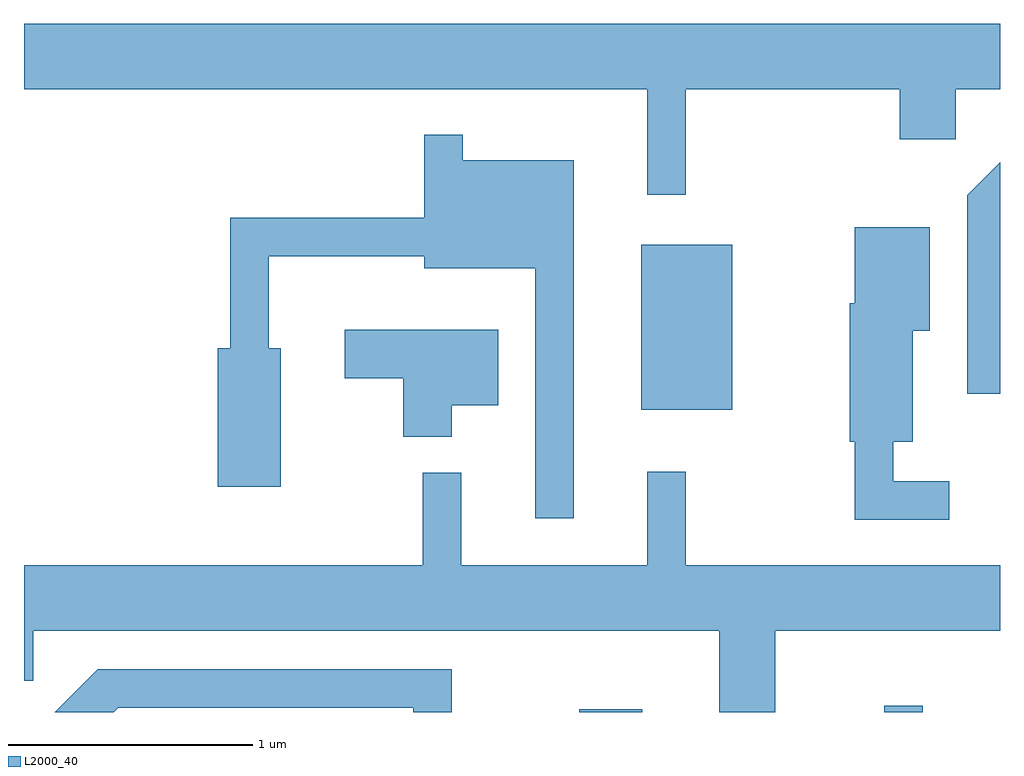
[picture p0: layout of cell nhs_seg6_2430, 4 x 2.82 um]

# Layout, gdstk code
import gdstk
lib = gdstk.Library(unit=1e-6, precision=1e-09)
def R(c, l, rs):  # rectangles x0, y0, x1, y1
    for r in rs: c.add(gdstk.rectangle(r[:2], r[2:], *l))
def P(c, l, *ps):  # polygons
    for p in ps: c.add(gdstk.Polygon(p, *l))
L2000_40 = (2000, 40)

nhs_seg6_2430 = lib.new_cell('nhs_seg6_2430')
R(nhs_seg6_2430, L2000_40, [(261.886,1534.162,262.144,1534.174), (263.136,1534.162,263.294,1534.188), (262.141,1535.401,262.514,1536.079)])
P(nhs_seg6_2430, L2000_40, [(262.324,1536.716),(263.201,1536.716),(263.201,1536.511),(263.429,1536.511),(263.429,1536.716),(263.611,1536.716),(263.611,1536.984),(259.611,1536.984),(259.611,1536.716),(262.166,1536.716),(262.166,1536.283),(262.324,1536.283)],
  [(261.864,1536.424),(261.409,1536.424),(261.409,1536.528),(261.251,1536.528),(261.251,1536.189),(260.456,1536.189),(260.456,1535.654),(260.406,1535.654),(260.406,1535.086),(260.664,1535.086),(260.664,1535.654),(260.614,1535.654),(260.614,1536.031),(261.251,1536.031),(261.251,1535.981),(261.706,1535.981),(261.706,1534.958),(261.864,1534.958)],
  [(263.611,1536.416),(263.476,1536.282),(263.476,1535.468),(263.611,1535.468)],
  [(263.403,1535.109),(263.174,1535.109),(263.174,1535.271),(263.254,1535.271),(263.254,1535.726),(263.324,1535.726),(263.324,1536.149),(263.016,1536.149),(263.016,1535.839),(262.996,1535.839),(262.996,1535.271),(263.016,1535.271),(263.016,1534.951),(263.403,1534.951)],
  [(261.364,1535.421),(261.554,1535.421),(261.554,1535.729),(260.926,1535.729),(260.926,1535.531),(261.166,1535.531),(261.166,1535.291),(261.364,1535.291)],
  [(262.689,1534.496),(263.611,1534.496),(263.611,1534.764),(262.324,1534.764),(262.324,1535.148),(262.166,1535.148),(262.166,1534.764),(261.404,1534.764),(261.404,1535.143),(261.246,1535.143),(261.246,1534.764),(259.611,1534.764),(259.611,1534.291),(259.649,1534.291),(259.649,1534.496),(262.461,1534.496),(262.461,1534.162),(262.689,1534.162)],
  [(259.997,1534.181),(261.206,1534.181),(261.206,1534.162),(261.364,1534.162),(261.364,1534.339),(259.914,1534.339),(259.737,1534.162),(259.978,1534.162)])

lib.write_gds('nhs_seg6_2430.gds')
